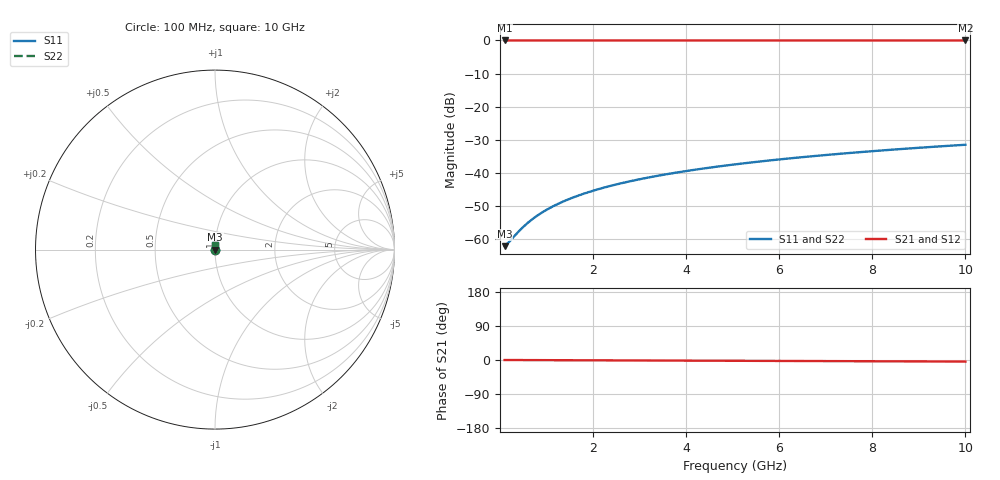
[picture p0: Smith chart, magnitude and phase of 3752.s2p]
# Hz S RI R 50.00
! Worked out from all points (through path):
!   100 points, 100 MHz to 10 GHz, reference 50 ohm
!   highest |S21| = -0.01 dB at 100 MHz (marker M1); lowest = 0.0 dB at 10 GHz (marker M2)
!   lowest |S11| = -62.2 dB at 100 MHz (marker M3), VSWR 1.00, Z = 50.1 + j0.0264 ohm
!   |S11| at or under -10 dB: start of sweep to end of sweep
!   |S22| runs from -62.2 to -31.5 dB; largest |S21 - S12| = 1e-13
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1e8  0.000729 0.000264  0.9993 -0.00072  0.9993 -0.00072  0.000729 0.000264
2e8  0.000734 0.000527  0.9993 -0.00144  0.9993 -0.00144  0.000734 0.000527
4e8  0.000742 0.00105  0.9993 -0.00288  0.9993 -0.00288  0.000742 0.00105
5e8  0.000746 0.00132  0.9992 -0.0036  0.9992 -0.0036  0.000746 0.00132
6e8  0.00075 0.00158  0.9992 -0.00432  0.9992 -0.00432  0.00075 0.00158
7e8  0.000755 0.00184  0.9992 -0.00504  0.9992 -0.00504  0.000755 0.00184
8e8  0.000759 0.00211  0.9992 -0.00576  0.9992 -0.00576  0.000759 0.00211
1e9  0.000769 0.00264  0.9992 -0.0072  0.9992 -0.0072  0.000769 0.00264
1.2e9  0.00078 0.00316  0.9992 -0.00864  0.9992 -0.00864  0.00078 0.00316
1.5e9  0.000798 0.00395  0.9992 -0.0108  0.9992 -0.0108  0.000798 0.00395
1.8e9  0.00082 0.00474  0.9991 -0.013  0.9991 -0.013  0.00082 0.00474
2.1e9  0.000845 0.00553  0.9991 -0.0151  0.9991 -0.0151  0.000845 0.00553
2.5e9  0.000883 0.00659  0.999 -0.018  0.999 -0.018  0.000883 0.00659
2.9e9  0.000927 0.00764  0.999 -0.0209  0.999 -0.0209  0.000927 0.00764
3.4e9  0.00099 0.00896  0.9989 -0.0245  0.9989 -0.0245  0.00099 0.00896
4.2e9  0.00111 0.0111  0.9987 -0.0303  0.9987 -0.0303  0.00111 0.0111
5.1e9  0.00128 0.0134  0.9984 -0.0368  0.9984 -0.0368  0.00128 0.0134
5.9e9  0.00145 0.0155  0.9982 -0.0425  0.9982 -0.0425  0.00145 0.0155
6.7e9  0.00164 0.0176  0.9979 -0.0483  0.9979 -0.0483  0.00164 0.0176
7.5e9  0.00187 0.0197  0.9975 -0.0541  0.9975 -0.0541  0.00187 0.0197
8.4e9  0.00214 0.0221  0.9971 -0.0606  0.9971 -0.0606  0.00214 0.0221
1e10  0.00272 0.0263  0.9962 -0.0722  0.9962 -0.0722  0.00272 0.0263
